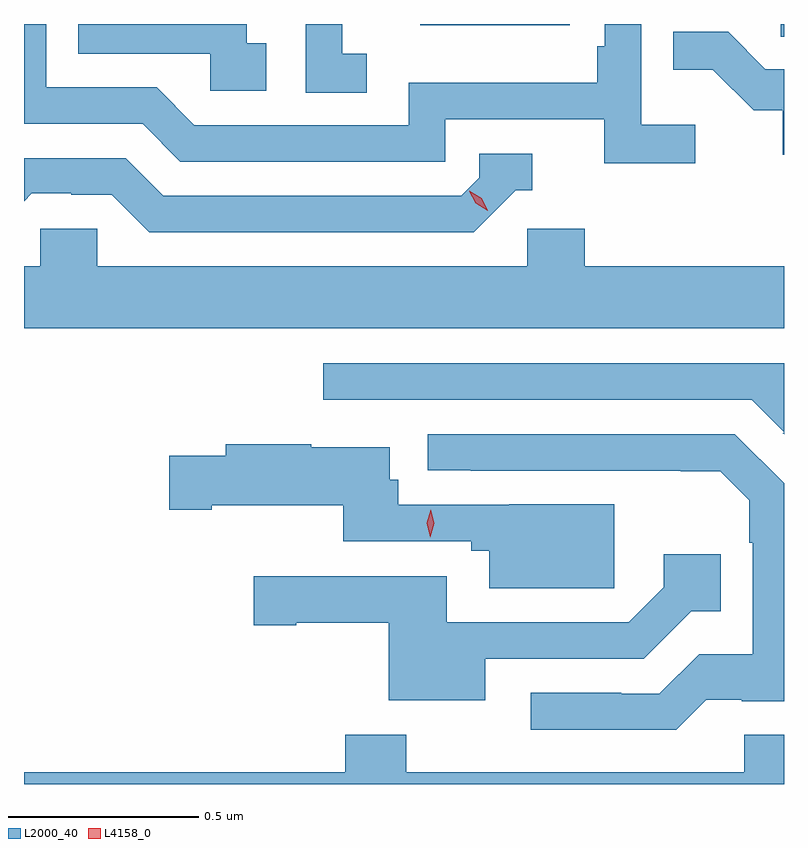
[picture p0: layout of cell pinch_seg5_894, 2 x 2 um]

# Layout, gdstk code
import gdstk
lib = gdstk.Library(unit=1e-6, precision=1e-09)
def R(c, l, rs):  # rectangles x0, y0, x1, y1
    for r in rs: c.add(gdstk.rectangle(r[:2], r[2:], *l))
def P(c, l, *ps):  # polygons
    for p in ps: c.add(gdstk.Polygon(p, *l))
L2000_40 = (2000, 40)
L4158_0 = (4158, 0)

pinch_seg5_894 = lib.new_cell('pinch_seg5_894')
R(pinch_seg5_894, L2000_40, [(828.505,885.499,828.514,885.533), (827.557,885.53,827.95,885.533)])
P(pinch_seg5_894, L2000_40, [(827.416,885.455),(827.352,885.455),(827.352,885.533),(827.256,885.533),(827.256,885.352),(827.416,885.352)],
  [(827.152,885.482),(827.1,885.482),(827.1,885.533),(826.657,885.533),(826.657,885.455),(827.004,885.455),(827.004,885.357),(827.152,885.357)],
  [(828.28,885.268),(828.138,885.268),(828.138,885.533),(828.042,885.533),(828.042,885.475),(828.022,885.475),(828.022,885.379),(827.526,885.379),(827.526,885.267),(826.962,885.267),(826.863,885.366),(826.572,885.366),(826.572,885.533),(826.514,885.533),(826.514,885.27),(826.826,885.27),(826.925,885.171),(827.622,885.171),(827.622,885.282),(828.041,885.282),(828.041,885.166),(828.28,885.166)],
  [(828.514,885.414),(828.465,885.414),(828.367,885.512),(828.223,885.512),(828.223,885.413),(828.327,885.413),(828.434,885.306),(828.511,885.306),(828.511,885.189),(828.514,885.189)],
  [(827.808,885.096),(827.851,885.096),(827.851,885.192),(827.712,885.192),(827.712,885.129),(827.664,885.081),(826.881,885.081),(826.782,885.18),(826.514,885.18),(826.514,885.066),(826.535,885.087),(826.638,885.087),(826.638,885.084),(826.745,885.084),(826.844,884.985),(827.697,884.985)],
  [(828.514,884.896),(827.99,884.896),(827.99,884.994),(827.838,884.994),(827.838,884.896),(826.707,884.896),(826.707,884.994),(826.557,884.994),(826.557,884.896),(826.514,884.896),(826.514,884.732),(828.514,884.732)],
  [(828.514,884.64),(827.301,884.64),(827.301,884.544),(828.429,884.544),(828.514,884.459),(828.511,884.456),(828.514,884.453)],
  [(828.309,883.755),(828.403,883.755),(828.403,883.751),(828.514,883.751),(828.514,884.325),(828.385,884.454),(827.577,884.454),(827.577,884.359),(827.689,884.359),(827.689,884.358),(828.242,884.358),(828.242,884.356),(828.346,884.356),(828.422,884.28),(828.422,884.168),(828.432,884.168),(828.432,883.875),(828.291,883.875),(828.186,883.77),(828.086,883.77),(828.086,883.773),(827.847,883.773),(827.847,883.676),(828.23,883.676)],
  [(828.067,884.269),(827.791,884.269),(827.791,884.268),(827.499,884.268),(827.499,884.334),(827.476,884.334),(827.476,884.419),(827.27,884.419),(827.27,884.427),(827.045,884.427),(827.045,884.397),(826.896,884.397),(826.896,884.255),(827.008,884.255),(827.008,884.267),(827.354,884.267),(827.354,884.172),(827.691,884.172),(827.691,884.147),(827.738,884.147),(827.738,884.048),(828.067,884.048)],
  [(827.728,883.863),(828.145,883.863),(828.27,883.988),(828.347,883.988),(828.347,884.137),(828.197,884.137),(828.197,884.051),(828.105,883.959),(827.626,883.959),(827.626,884.08),(827.118,884.08),(827.118,883.951),(827.23,883.951),(827.23,883.958),(827.474,883.958),(827.474,883.754),(827.728,883.754)],
  [(828.514,883.663),(828.41,883.663),(828.41,883.564),(827.52,883.564),(827.52,883.663),(827.36,883.663),(827.36,883.564),(826.514,883.564),(826.514,883.533),(828.514,883.533)])
P(pinch_seg5_894, L4158_0, [(827.734,885.042),(827.703,885.061),(827.686,885.093),(827.686,885.094),(827.686,885.094),(827.718,885.075),(827.734,885.042),(827.734,885.042)],
  [(827.583,884.183),(827.583,884.183),(827.574,884.219),(827.584,884.255),(827.584,884.255),(827.585,884.255),(827.594,884.219),(827.583,884.183)])

lib.write_gds('pinch_seg5_894.gds')
